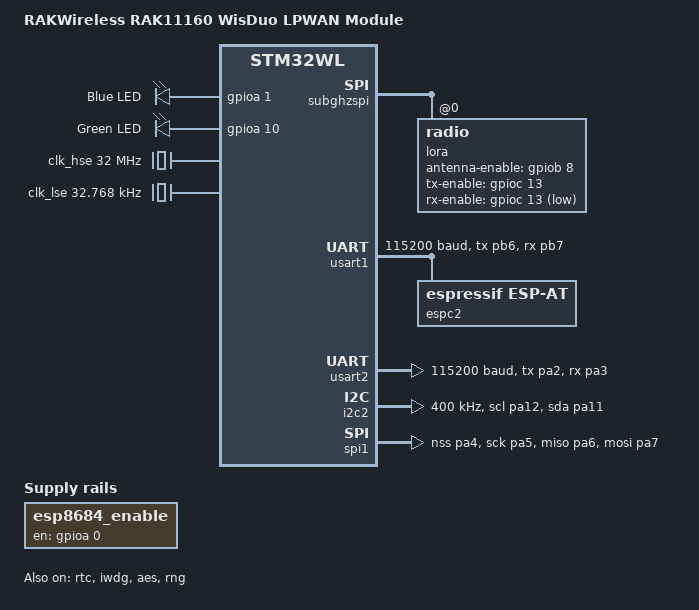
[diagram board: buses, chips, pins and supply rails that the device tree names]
/*
 * Copyright (c) 2025 RAKwireless Technology Co., Ltd. <www.rakwireless.com>
 * Sercan Erat <sercanerat@gmail.com>
 * SPDX-License-Identifier: Apache-2.0
 */

/dts-v1/;
#include <st/wl/stm32wle5Xc.dtsi>
#include <st/wl/stm32wle5ccux-pinctrl.dtsi>

/ {
	model = "RAKWireless RAK11160 WisDuo LPWAN Module";
	compatible = "stm32,rak11160_stm32wl";

	chosen {
		zephyr,console = &usart1;
		zephyr,shell-uart = &usart1;
		zephyr,sram = &sram0;
		zephyr,flash = &flash0;
		zephyr,code-partition = &slot0_partition;
	};

	leds {
		compatible = "gpio-leds";

		blue_led: led_2 {
			gpios = <&gpioa 1 GPIO_ACTIVE_HIGH>;
			label = "Blue LED";
		};

		green_led: led_1 {
			gpios = <&gpioa 10 GPIO_ACTIVE_HIGH>;
			label = "Green LED";
		};
	};

	/* Regulator controlling ESP8684 enable */
	esp8684_enable: esp8684-enable {
		compatible = "regulator-fixed";
		regulator-name = "esp8684_enable";
		enable-gpios = <&gpioa 0 GPIO_ACTIVE_HIGH>;
		regulator-boot-off;
	};

	aliases {
		led0 = &green_led;
		lora0 = &lora;
		watchdog0 = &iwdg;
	};
};

&pll {
	div-m = <1>;
	mul-n = <3>;
	div-r = <2>;
	div-q = <2>;
	clocks = <&clk_hse>;
	status = "okay";
};

&rcc {
	clocks = <&pll>;
	clock-frequency = <DT_FREQ_M(48)>;
	cpu1-prescaler = <1>;
	ahb3-prescaler = <1>;
	apb1-prescaler = <1>;
	apb2-prescaler = <1>;
};

&clk_hse {
	status = "okay";
	clock-frequency = <DT_FREQ_M(32)>;
	hse-tcxo;
};

&clk_lse {
	status = "okay";
	clock-frequency = <32768>;
};

&subghzspi {
	status = "okay";

	lora: radio@0 {
		status = "okay";
		antenna-enable-gpios = <&gpiob 8 GPIO_ACTIVE_HIGH>;
		tx-enable-gpios = <&gpioc 13 GPIO_ACTIVE_HIGH>;
		rx-enable-gpios = <&gpioc 13 GPIO_ACTIVE_LOW>;
		dio3-tcxo-voltage = <SX126X_DIO3_TCXO_1V8>;
		tcxo-power-startup-delay-ms = <5>;
		power-amplifier-output = "rfo-hp";
		rfo-hp-max-power = <22>;
	};
};

&usart1 {
	pinctrl-0 = <&usart1_tx_pb6 &usart1_rx_pb7>;
	pinctrl-names = "default";
	current-speed = <115200>;
	status = "okay";

	espc2 {
		compatible = "espressif,esp-at";
		status = "okay";
	};
};

&usart2 {
	pinctrl-0 = <&usart2_tx_pa2 &usart2_rx_pa3>;
	pinctrl-names = "default";
	current-speed = <115200>;
	status = "okay";
};

&i2c2 {
	pinctrl-0 = <&i2c2_scl_pa12 &i2c2_sda_pa11>;
	pinctrl-names = "default";
	status = "okay";
	clock-frequency = <I2C_BITRATE_FAST>;
};

&spi1 {
	pinctrl-0 = <&spi1_nss_pa4 &spi1_sck_pa5
		     &spi1_miso_pa6 &spi1_mosi_pa7>;
	pinctrl-names = "default";
	status = "okay";
};

&rtc {
	clocks = <&rcc STM32_CLOCK_BUS_APB1 0x00000400>,
		 <&rcc STM32_SRC_LSE RTC_SEL(1)>;
	status = "okay";
};

&iwdg {
	status = "okay";
};

&aes {
	status = "okay";
};

&rng {
	status = "okay";
};

&flash0 {
	partitions {
		compatible = "fixed-partitions";
		#address-cells = <1>;
		#size-cells = <1>;

		boot_partition: partition@0 {
			label = "mcuboot";
			reg = <0x00000000 DT_SIZE_K(32)>;
			read-only;
		};

		slot0_partition: partition@8000 {
			label = "image-0";
			reg = <0x00008000 DT_SIZE_K(108)>;
		};

		slot1_partition: partition@23000 {
			label = "image-1";
			reg = <0x00023000 DT_SIZE_K(108)>;
		};

		storage_partition: partition@3e000 {
			label = "storage";
			reg = <0x0003e000 DT_SIZE_K(8)>;
		};
	};
};
